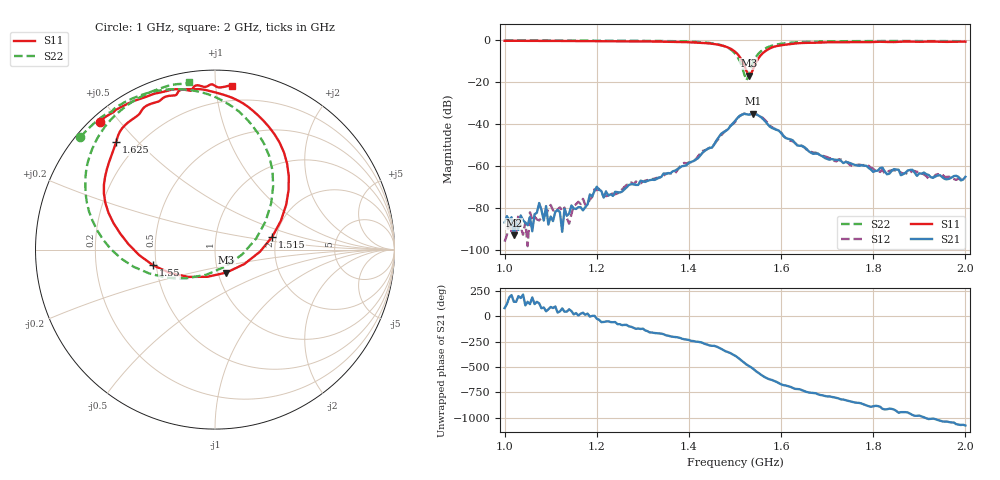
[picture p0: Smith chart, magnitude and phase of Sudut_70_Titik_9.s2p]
# Hz S RI R 50
! CMT, C1220, 16058040, 17.2.0/1
! Date: 14/08/2018 11:55:12
! Data: Format (Calibration Info)
! Freq  S11: Re/Im (F2)  S21: Re/Im (F2)  S12: Re/Im (F2)  S22: Re/Im (F2)
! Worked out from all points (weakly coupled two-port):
!   201 points, 1 GHz to 2 GHz, reference 50 ohm
!   highest |S21| = -35.01 dB at 1.54 GHz (marker M1); lowest = -92.9 dB at 1.02 GHz (marker M2)
!   lowest |S11| = -16.9 dB at 1.53 GHz (marker M3), VSWR 1.33, Z = 54.9 - j14.3 ohm
!   |S11| at or under -10 dB: 1.516 GHz to 1.547 GHz (31.74 MHz wide, 2.07 % of centre)
!   |S22| runs from -19.1 to -0.2 dB; largest |S21 - S12| = 0.00078
!   S11 on the Smith chart (normalised r, x): 1 GHz: 0.03, +0.44; 1.515 GHz: 1.91, +0.31; 1.55 GHz: 0.48, -0.10; 1.625 GHz: 0.12, +0.43; 2 GHz: 0.10, +1.10
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1e9  -0.6433 0.7108  8.02e-06 4.46e-05  5.45e-06 -1.49e-05  -0.7501 0.6268
1.02e9  -0.6228 0.7271  -1.78e-05 1.39e-05  -4.11e-05 5.01e-06  -0.7359 0.642
1.145e9  -0.4965 0.8081  7.29e-05 8.93e-05  3.68e-05 6.16e-05  -0.6373 0.7337
1.17e9  -0.4714 0.8199  7.31e-05 4.93e-05  0.000153 6.41e-05  -0.6124 0.7519
1.18e9  -0.4547 0.8269  0.00011 5.23e-05  0.000123 2.39e-05  -0.6011 0.7583
1.185e9  -0.4463 0.83  0.000211 -1.49e-05  0.000157 2.1e-05  -0.5952 0.7615
1.2e9  -0.4286 0.8359  0.000291 -0.000138  0.00023 -0.000134  -0.5784 0.7653
1.215e9  -0.4158 0.8405  9.58e-05 -0.000149  8.15e-05 -0.000186  -0.5715 0.7734
1.22e9  -0.4092 0.8426  0.000151 -0.000198  0.000104 -0.000161  -0.5674 0.7788
1.335e9  -0.2138 0.8933  -0.000525 -8.8e-05  -0.00052 -2.4e-05  -0.3958 0.8659
1.45e9  0.1835 0.796  0.00102 0.00254  0.00119 0.00254  0.0268 0.8379
1.5e9  0.4103 0.3344  0.0103 -0.00569  0.00975 -0.0054  0.324 0.3521
1.515e9  0.3195 0.0721  0.00286 -0.0164  0.00326 -0.0164  0.2286 0.0606
1.525e9  0.1636 -0.0802  -0.0076 -0.0153  -0.00759 -0.0155  0.0582 -0.0941
1.53e9  0.0637 -0.1279  -0.0107 -0.0128  -0.0107 -0.0129  -0.0479 -0.1399
1.54e9  -0.1491 -0.1522  -0.0168 -0.00588  -0.0166 -0.00589  -0.2683 -0.1569
1.55e9  -0.3451 -0.0875  -0.0155 0.00456  -0.0156 0.00401  -0.4508 -0.097
1.58e9  -0.6107 0.2594  -0.000216 0.00807  0.000136 0.00842  -0.7023 0.2143
1.625e9  -0.551 0.5985  0.004 0.00103  0.00375 0.00111  -0.698 0.5225
1.67e9  -0.439 0.7409  0.00158 -0.00116  0.00169 -0.00124  -0.6207 0.6742
1.835e9  -0.1444 0.8856  -0.000646 0.000126  -0.000691 0.000338  -0.3704 0.8731
2e9  0.0941 0.9109  0.000552 3.29e-05  0.000555 7.29e-06  -0.147 0.931
